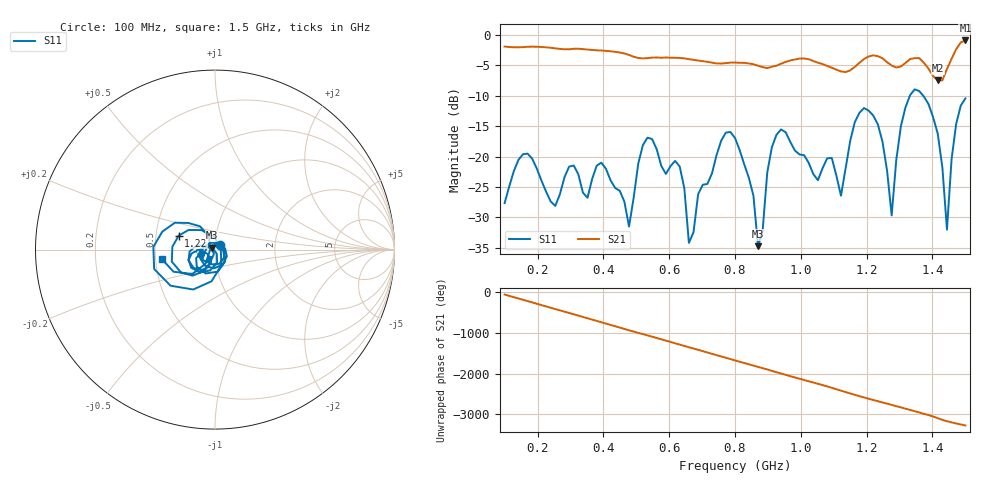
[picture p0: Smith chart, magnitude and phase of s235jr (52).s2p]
! NanoVNA-App
! Date: 2025-09-26 09:45:11
! Start: 100MHz Stop: 1,5GHz Points: 101
! S-Parameter data: F S11 S21 S12 S22
# Hz S RI R 50
!  Frequency  S11_Real  S11_Imag  S21_Real  S21_Imag  S12_Real  S12_Imag  S22_Real  S22_Imag
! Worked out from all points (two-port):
!   101 points, 100 MHz to 1.5 GHz, reference 50 ohm
!   highest |S21| = -0.95 dB at 1.5 GHz (marker M1); lowest = -7.5 dB at 1.416 GHz (marker M2)
!   |S21| within 3 dB of the highest: start of sweep to 652.3 MHz; 1.194 GHz to 1.25 GHz (56.22 MHz wide, 4.6 % of centre) (the widest 2 of 5)
!   lowest |S11| = -34.7 dB at 870 MHz (marker M3), VSWR 1.04, Z = 48.5 + j0.977 ohm
!   |S11| at or under -10 dB: start of sweep to 1.331 GHz; 1.371 GHz to end of sweep
!   S12 and S22 are empty: the file has one direction only
!   S11 on the Smith chart (normalised r, x): 100 MHz: 1.06, +0.06; 1.22 GHz: 0.66, +0.11; 1.5 GHz: 0.54, -0.06
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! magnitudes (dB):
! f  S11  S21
! 100 MHz  -27.6  -2.0
! 156 MHz  -19.6  -2.1
! 338 MHz  -25.9  -2.4
! 394 MHz  -21.0  -2.6
! 478 MHz  -31.5  -3.3
! 520 MHz  -18.1  -3.9
! 576 MHz  -21.5  -3.8
! 632 MHz  -21.6  -3.8
! 660 MHz  -34.2  -4.0
! 800 MHz  -17.0  -4.6
! 870 MHz  -34.7  -5.1
! 926 MHz  -16.4  -5.1
! 1.038 GHz  -22.9  -4.3
! 1.122 GHz  -26.4  -6.0
! 1.164 GHz  -14.4  -5.3
! 1.22 GHz  -13.3  -3.4
! 1.276 GHz  -29.7  -5.1
! 1.332 GHz  -9.9  -4.0
! 1.416 GHz  -16.3  -7.5
! 1.444 GHz  -32.0  -5.7
! 1.472 GHz  -14.6  -2.4
! 1.5 GHz  -10.5  -1.0
